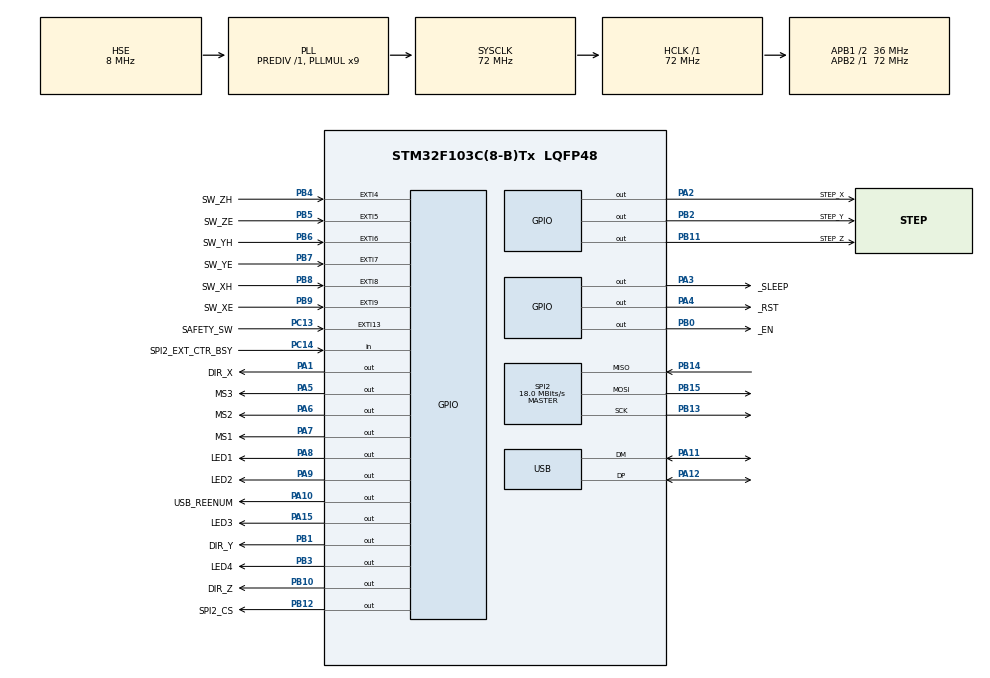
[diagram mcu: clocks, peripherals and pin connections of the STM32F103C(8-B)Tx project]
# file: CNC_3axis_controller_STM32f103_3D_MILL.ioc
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Mcu.Family=STM32F1
Mcu.Name=STM32F103C(8-B)Tx
Mcu.Package=LQFP48
NVIC.EXTI15_10_IRQn=true\:0\:0\:false\:false\:true\:true\:true\:true
NVIC.EXTI4_IRQn=true\:2\:0\:true\:false\:true\:true\:true\:true
NVIC.EXTI9_5_IRQn=true\:2\:0\:true\:false\:true\:true\:true\:true
NVIC.PriorityGroup=NVIC_PRIORITYGROUP_4
NVIC.SPI2_IRQn=true\:1\:0\:true\:false\:true\:true\:true\:true
NVIC.TIM4_IRQn=true\:1\:0\:true\:false\:true\:true\:true\:true
NVIC.USBWakeUp_IRQn=true\:0\:0\:false\:false\:true\:false\:true\:true
NVIC.USB_HP_CAN1_TX_IRQn=true\:2\:0\:true\:false\:true\:true\:true\:true
NVIC.USB_LP_CAN1_RX0_IRQn=true\:2\:0\:true\:false\:true\:false\:true\:true
PA1.GPIO_Label=DIR_X
PA1.Signal=GPIO_Output
PA10.GPIO_Label=USB_REENUM
PA10.Signal=GPIO_Output
PA11.Mode=Device
PA11.Signal=USB_DM
PA12.Mode=Device
PA12.Signal=USB_DP
PA13.Mode=Serial_Wire
PA13.Signal=SYS_JTMS-SWDIO
PA14.Mode=Serial_Wire
PA14.Signal=SYS_JTCK-SWCLK
PA15.GPIO_Label=LED3
PA15.Signal=GPIO_Output
PA2.GPIO_Label=STEP_X
PA2.Signal=GPIO_Output
PA3.GPIO_Label=_SLEEP
PA3.Signal=GPIO_Output
PA4.GPIO_Label=_RST
PA4.Signal=GPIO_Output
PA5.GPIO_Label=MS3
PA5.Signal=GPIO_Output
PA6.GPIO_Label=MS2
PA6.Signal=GPIO_Output
PA7.GPIO_Label=MS1
PA7.Signal=GPIO_Output
PA8.GPIO_Label=LED1
PA8.Signal=GPIO_Output
PA9.GPIO_Label=LED2
PA9.Signal=GPIO_Output
PB0.GPIO_Label=_EN
PB0.Signal=GPIO_Output
PB1.GPIO_Label=DIR_Y
PB1.Signal=GPIO_Output
PB10.GPIO_Label=DIR_Z
PB10.Signal=GPIO_Output
PB11.GPIO_Label=STEP_Z
PB11.Signal=GPIO_Output
PB12.GPIO_Label=SPI2_CS
PB12.Signal=GPIO_Output
PB13.Mode=Full_Duplex_Master
PB13.Signal=SPI2_SCK
PB14.Mode=Full_Duplex_Master
PB14.Signal=SPI2_MISO
PB15.Mode=Full_Duplex_Master
PB15.Signal=SPI2_MOSI
PB2.GPIO_Label=STEP_Y
PB2.Signal=GPIO_Output
PB3.GPIO_Label=LED4
PB3.Signal=GPIO_Output
PB4.GPIO_Label=SW_ZH
PB4.GPIO_ModeDefaultEXTI=GPIO_MODE_IT_RISING_FALLING
PB4.GPIO_PuPd=GPIO_PULLUP
PB4.Signal=GPXTI4
PB5.GPIO_Label=SW_ZE
PB5.GPIO_ModeDefaultEXTI=GPIO_MODE_IT_RISING_FALLING
PB5.GPIO_PuPd=GPIO_PULLUP
PB5.Signal=GPXTI5
PB6.GPIO_Label=SW_YH
PB6.GPIO_ModeDefaultEXTI=GPIO_MODE_IT_RISING_FALLING
PB6.GPIO_PuPd=GPIO_PULLUP
PB6.Signal=GPXTI6
PB7.GPIO_Label=SW_YE
PB7.GPIO_ModeDefaultEXTI=GPIO_MODE_IT_RISING_FALLING
PB7.GPIO_PuPd=GPIO_PULLUP
PB7.Signal=GPXTI7
PB8.GPIO_Label=SW_XH
PB8.GPIO_ModeDefaultEXTI=GPIO_MODE_IT_RISING_FALLING
PB8.GPIO_PuPd=GPIO_PULLUP
PB8.Signal=GPXTI8
PB9.GPIO_Label=SW_XE
PB9.GPIO_ModeDefaultEXTI=GPIO_MODE_IT_RISING_FALLING
PB9.GPIO_PuPd=GPIO_PULLUP
PB9.Signal=GPXTI9
PC13-TAMPER-RTC.GPIO_Label=SAFETY_SW
PC13-TAMPER-RTC.GPIO_ModeDefaultEXTI=GPIO_MODE_IT_FALLING
PC13-TAMPER-RTC.GPIO_PuPd=GPIO_PULLUP
PC13-TAMPER-RTC.Signal=GPXTI13
PC14-OSC32_IN.GPIO_Label=SPI2_EXT_CTR_BSY
PC14-OSC32_IN.Signal=GPIO_Input
PD0-OSC_IN.Mode=HSE-External-Oscillator
PD0-OSC_IN.Signal=RCC_OSC_IN
PD1-OSC_OUT.Mode=HSE-External-Oscillator
PD1-OSC_OUT.Signal=RCC_OSC_OUT
ProjectManager.HeapSize=0x800
ProjectManager.StackSize=0x1400
ProjectManager.TargetToolchain=STM32CubeIDE
RCC.AHBFreq_Value=72000000
RCC.APB1CLKDivider=RCC_HCLK_DIV2
RCC.APB1Freq_Value=36000000
RCC.APB1TimFreq_Value=72000000
RCC.APB2Freq_Value=72000000
RCC.APB2TimFreq_Value=72000000
RCC.HCLKFreq_Value=72000000
RCC.PLLMUL=RCC_PLL_MUL9
RCC.SYSCLKFreq_VALUE=72000000
RCC.SYSCLKSource=RCC_SYSCLKSOURCE_PLLCLK
RCC.USBFreq_Value=48000000
RCC.USBPrescaler=RCC_USBCLKSOURCE_PLL_DIV1_5
SPI2.CalculateBaudRate=18.0 MBits/s
SPI2.Direction=SPI_DIRECTION_2LINES
SPI2.Mode=SPI_MODE_MASTER
SPI2.VirtualType=VM_MASTER
TIM4.Channel-Output\ Compare1\ No\ Output=TIM_CHANNEL_1
TIM4.Period=65535
TIM4.Prescaler=72
TIM4.Pulse-Output\ Compare1\ No\ Output=1
USB.low_power_enable=ENABLE
USB_DEVICE.CLASS_NAME_FS=CDC
USB_DEVICE.PRODUCT_STRING_CDC_FS=DIY CNC machine V2 STM32 Virtual ComPort
USB_DEVICE.USBD_DEBUG_LEVEL=3
USB_DEVICE.VirtualMode=Cdc
USB_DEVICE.VirtualModeFS=Cdc_FS
VP_TIM4_VS_ClockSourceINT.Mode=Internal
VP_TIM4_VS_OPM.Mode=OPM_bit
VP_TIM4_VS_no_output1.Mode=Output Compare1 No Output
VP_USB_DEVICE_VS_USB_DEVICE_CDC_FS.Mode=CDC_FS
board=custom

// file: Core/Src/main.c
/* USER CODE BEGIN Header */
/**
  ******************************************************************************
  * @file           : main.c
  * @brief          : Main program body
  *
  ******************************************************************************
  * @attention
  *
  * Copyright (c) 2023 STMicroelectronics.
  * All rights reserved.
  *
  * This software is licensed under terms that can be found in the LICENSE file
  * in the root directory of this software component.
  * If no LICENSE file comes with this software, it is provided AS-IS.
  *
  ******************************************************************************
  ******************************************************************************
  *
  *
  * -serial port settings: 9600 baud, 1 stop bit, no parity, no flow control
  *
  */
/* USER CODE END Header */
#include "main.h"
#include "usb_device.h"

/* USER CODE BEGIN Includes */
#include "usbd_cdc_if.h"

/* USER CODE END Includes */

/* USER CODE BEGIN PD */

//#define USE_BLOCKING_US_DELAY

/* USER CODE END PD */

SPI_HandleTypeDef hspi2;

/* USER CODE BEGIN PV */
uint8_t rxbuffer[RXBUFFSIZE] = {0};
uint8_t rxbufend = 0;
uint8_t rxflagbyte = 0;

cmd_struct* cmdBuff_pp[CMDBUFFSIZE] = {NULL};
uint8_t	cmdBuffIndx = 0;
uint8_t	cmdBuffEndIndx = 0;
/* USER CODE END PV */

void SystemClock_Config(void);
static void MX_GPIO_Init(void);
static void MX_TIM4_Init(void);
static void MX_SPI2_Init(void);

/* USER CODE BEGIN 0 */

extern USBD_HandleTypeDef hUsbDeviceFS;
extern uint8_t host_com_port_open;

uint8_t volatile us_delay_flag = 0;

volatile uint8_t btn = 0;

extern CP stepper_pos;

volatile uint32_t num_of_cmd_line = 1;//cmd counter

/* USER CODE END 0 */

int main(void)
{

  /* USER CODE BEGIN 1 */
  cmd_struct cs0 = {0, NULL};
  cmdBuff_pp[0] = &cs0;
  /* USER CODE END 1 */

  /* MCU Configuration--------------------------------------------------------*/

  /* Reset of all peripherals, Initializes the Flash interface and the Systick. */
  HAL_Init();

  /* Configure the system clock */
  SystemClock_Config();

  /* Initialize all configured peripherals */
  MX_GPIO_Init();
  MX_USB_DEVICE_Init();
  MX_TIM4_Init();
  MX_SPI2_Init();
  /* USER CODE BEGIN 2 */

  A4988_init(&stepper_pos, stepsize_1_16);

  __enable_irq();

  LL_mDelay(500);

  /* USER CODE END 2 */

  /* Infinite loop */
  /* USER CODE BEGIN WHILE */

  stepper_pos.toolspeed = DEFAULTTOOLSPEED;
  stepper_pos.curr_state &= ~(RapidMove | RelativeStep_MSK);
  stepper_pos.curr_state |= (FeedMove | AbsoluteStep_MSK);
  num_of_cmd_line = 1;
  get_limit_sw_state();
  gotohome(&stepper_pos);

  while(host_com_port_open == 0)//wait for the CDC_Control_FS() function to be called with "CDC_SET_CONTROL_LINE_STATE" command
  {
	  LL_mDelay(250);
  }
  msDelay(20);
  uint8_t str[] = {"Connected to PC"};
  ext_ctr_transmit_string(PrintInfo_cmd, str, sizeof(str));

  USBD_CDC_ReceivePacket(&hUsbDeviceFS);
  USBD_CDC_TransmitPacket(&hUsbDeviceFS);

  uint8_t cmddone[1] = {CMD_DONE_CHAR};
  rxflagbyte = 0;
  rxbufend = 0;

  while(1)
  {
	while(rxflagbyte == 0)
	{
		__NOP();
	}

	LL_GPIO_TogglePin(LED1_GPIO_Port, LED1_Pin);

	handleCmd(cmdBuff_pp, &cmdBuffIndx);
	execute_cmd(cmdBuff_pp[cmdBuffIndx], &stepper_pos, &num_of_cmd_line);
	screen_update(cmdBuff_pp[cmdBuffIndx]);

	if(cmdBuff_pp[cmdBuffIndx]->params != NULL)
	{
		free(cmdBuff_pp[cmdBuffIndx]->params);
		cmdBuff_pp[cmdBuffIndx]->params = NULL;//prevents use after free
	}

	memset(rxbuffer, 0, RXBUFFSIZE);
	rxbufend = 0;
	rxflagbyte = 0;
	if(CDCsend(cmddone, 1, 255) != USBD_OK)
	{
		Error_Handler();
	}
  }

  //bab
  gotohome(&stepper_pos);
  A4988_power_down();

  while (1)
  {
    /* USER CODE END WHILE */

    /* USER CODE BEGIN 3 */

	  __NOP();
  }
  /* USER CODE END 3 */
}

void SystemClock_Config(void)
{
  RCC_OscInitTypeDef RCC_OscInitStruct = {0};
  RCC_ClkInitTypeDef RCC_ClkInitStruct = {0};
  RCC_PeriphCLKInitTypeDef PeriphClkInit = {0};

  /** Initializes the RCC Oscillators according to the specified parameters
  * in the RCC_OscInitTypeDef structure.
  */
  RCC_OscInitStruct.OscillatorType = RCC_OSCILLATORTYPE_HSE;
  RCC_OscInitStruct.HSEState = RCC_HSE_ON;
  RCC_OscInitStruct.HSEPredivValue = RCC_HSE_PREDIV_DIV1;
  RCC_OscInitStruct.HSIState = RCC_HSI_ON;
  RCC_OscInitStruct.PLL.PLLState = RCC_PLL_ON;
  RCC_OscInitStruct.PLL.PLLSource = RCC_PLLSOURCE_HSE;
  RCC_OscInitStruct.PLL.PLLMUL = RCC_PLL_MUL9;
  if (HAL_RCC_OscConfig(&RCC_OscInitStruct) != HAL_OK)
  {
    Error_Handler();
  }

  /** Initializes the CPU, AHB and APB buses clocks
  */
  RCC_ClkInitStruct.ClockType = RCC_CLOCKTYPE_HCLK|RCC_CLOCKTYPE_SYSCLK
                              |RCC_CLOCKTYPE_PCLK1|RCC_CLOCKTYPE_PCLK2;
  RCC_ClkInitStruct.SYSCLKSource = RCC_SYSCLKSOURCE_PLLCLK;
  RCC_ClkInitStruct.AHBCLKDivider = RCC_SYSCLK_DIV1;
  RCC_ClkInitStruct.APB1CLKDivider = RCC_HCLK_DIV2;
  RCC_ClkInitStruct.APB2CLKDivider = RCC_HCLK_DIV1;

  if (HAL_RCC_ClockConfig(&RCC_ClkInitStruct, FLASH_LATENCY_2) != HAL_OK)
  {
    Error_Handler();
  }
  PeriphClkInit.PeriphClockSelection = RCC_PERIPHCLK_USB;
  PeriphClkInit.UsbClockSelection = RCC_USBCLKSOURCE_PLL_DIV1_5;
  if (HAL_RCCEx_PeriphCLKConfig(&PeriphClkInit) != HAL_OK)
  {
    Error_Handler();
  }
}

static void MX_SPI2_Init(void)
{

  /* SPI2 parameter configuration*/
  hspi2.Instance = SPI2;
  hspi2.Init.Mode = SPI_MODE_MASTER;
  hspi2.Init.Direction = SPI_DIRECTION_2LINES;
  hspi2.Init.DataSize = SPI_DATASIZE_8BIT;
  hspi2.Init.CLKPolarity = SPI_POLARITY_LOW;
  hspi2.Init.CLKPhase = SPI_PHASE_1EDGE;
  hspi2.Init.NSS = SPI_NSS_SOFT;
  hspi2.Init.BaudRatePrescaler = SPI_BAUDRATEPRESCALER_2;
  hspi2.Init.FirstBit = SPI_FIRSTBIT_MSB;
  hspi2.Init.TIMode = SPI_TIMODE_DISABLE;
  hspi2.Init.CRCCalculation = SPI_CRCCALCULATION_DISABLE;
  hspi2.Init.CRCPolynomial = 10;
  if (HAL_SPI_Init(&hspi2) != HAL_OK)
  {
    Error_Handler();
  }

}

static void MX_TIM4_Init(void)
{

  LL_TIM_InitTypeDef TIM_InitStruct = {0};
  LL_TIM_OC_InitTypeDef TIM_OC_InitStruct = {0};

  /* Peripheral clock enable */
  LL_APB1_GRP1_EnableClock(LL_APB1_GRP1_PERIPH_TIM4);

  /* TIM4 interrupt Init */
  NVIC_SetPriority(TIM4_IRQn, NVIC_EncodePriority(NVIC_GetPriorityGrouping(),1, 0));
  NVIC_EnableIRQ(TIM4_IRQn);

  TIM_InitStruct.Prescaler = 72;
  TIM_InitStruct.CounterMode = LL_TIM_COUNTERMODE_UP;
  TIM_InitStruct.Autoreload = 65535;
  TIM_InitStruct.ClockDivision = LL_TIM_CLOCKDIVISION_DIV1;
  LL_TIM_Init(TIM4, &TIM_InitStruct);
  LL_TIM_DisableARRPreload(TIM4);
  LL_TIM_SetClockSource(TIM4, LL_TIM_CLOCKSOURCE_INTERNAL);
  TIM_OC_InitStruct.OCMode = LL_TIM_OCMODE_FROZEN;
  TIM_OC_InitStruct.OCState = LL_TIM_OCSTATE_DISABLE;
  TIM_OC_InitStruct.OCNState = LL_TIM_OCSTATE_DISABLE;
  TIM_OC_InitStruct.CompareValue = 1;
  TIM_OC_InitStruct.OCPolarity = LL_TIM_OCPOLARITY_HIGH;
  LL_TIM_OC_Init(TIM4, LL_TIM_CHANNEL_CH1, &TIM_OC_InitStruct);
  LL_TIM_OC_DisableFast(TIM4, LL_TIM_CHANNEL_CH1);
  LL_TIM_SetOnePulseMode(TIM4, LL_TIM_ONEPULSEMODE_SINGLE);
  LL_TIM_SetTriggerOutput(TIM4, LL_TIM_TRGO_RESET);
  LL_TIM_DisableMasterSlaveMode(TIM4);

}

static void MX_GPIO_Init(void)
{
  LL_EXTI_InitTypeDef EXTI_InitStruct = {0};
  LL_GPIO_InitTypeDef GPIO_InitStruct = {0};

  /* GPIO Ports Clock Enable */
  LL_APB2_GRP1_EnableClock(LL_APB2_GRP1_PERIPH_GPIOC);
  LL_APB2_GRP1_EnableClock(LL_APB2_GRP1_PERIPH_GPIOD);
  LL_APB2_GRP1_EnableClock(LL_APB2_GRP1_PERIPH_GPIOA);
  LL_APB2_GRP1_EnableClock(LL_APB2_GRP1_PERIPH_GPIOB);

  /**/
  LL_GPIO_ResetOutputPin(GPIOA, DIR_X_Pin|STEP_X_Pin|_SLEEP_Pin|_RST_Pin
                          |MS3_Pin|MS2_Pin|MS1_Pin|LED1_Pin
                          |LED2_Pin|USB_REENUM_Pin|LED3_Pin);

  /**/
  LL_GPIO_ResetOutputPin(GPIOB, _EN_Pin|DIR_Y_Pin|STEP_Y_Pin|DIR_Z_Pin
                          |STEP_Z_Pin|SPI2_CS_Pin|LED4_Pin);

  /**/
  LL_GPIO_AF_SetEXTISource(LL_GPIO_AF_EXTI_PORTC, LL_GPIO_AF_EXTI_LINE13);

  /**/
  LL_GPIO_AF_SetEXTISource(LL_GPIO_AF_EXTI_PORTB, LL_GPIO_AF_EXTI_LINE4);

  /**/
  LL_GPIO_AF_SetEXTISource(LL_GPIO_AF_EXTI_PORTB, LL_GPIO_AF_EXTI_LINE5);

  /**/
  LL_GPIO_AF_SetEXTISource(LL_GPIO_AF_EXTI_PORTB, LL_GPIO_AF_EXTI_LINE6);

  /**/
  LL_GPIO_AF_SetEXTISource(LL_GPIO_AF_EXTI_PORTB, LL_GPIO_AF_EXTI_LINE7);

  /**/
  LL_GPIO_AF_SetEXTISource(LL_GPIO_AF_EXTI_PORTB, LL_GPIO_AF_EXTI_LINE8);

  /**/
  LL_GPIO_AF_SetEXTISource(LL_GPIO_AF_EXTI_PORTB, LL_GPIO_AF_EXTI_LINE9);

  /**/
  EXTI_InitStruct.Line_0_31 = LL_EXTI_LINE_13;
  EXTI_InitStruct.LineCommand = ENABLE;
  EXTI_InitStruct.Mode = LL_EXTI_MODE_IT;
  EXTI_InitStruct.Trigger = LL_EXTI_TRIGGER_FALLING;
  LL_EXTI_Init(&EXTI_InitStruct);

  /**/
  EXTI_InitStruct.Line_0_31 = LL_EXTI_LINE_4;
  EXTI_InitStruct.LineCommand = ENABLE;
  EXTI_InitStruct.Mode = LL_EXTI_MODE_IT;
  EXTI_InitStruct.Trigger = LL_EXTI_TRIGGER_RISING_FALLING;
  LL_EXTI_Init(&EXTI_InitStruct);

  /**/
  EXTI_InitStruct.Line_0_31 = LL_EXTI_LINE_5;
  EXTI_InitStruct.LineCommand = ENABLE;
  EXTI_InitStruct.Mode = LL_EXTI_MODE_IT;
  EXTI_InitStruct.Trigger = LL_EXTI_TRIGGER_RISING_FALLING;
  LL_EXTI_Init(&EXTI_InitStruct);

  /**/
  EXTI_InitStruct.Line_0_31 = LL_EXTI_LINE_6;
  EXTI_InitStruct.LineCommand = ENABLE;
  EXTI_InitStruct.Mode = LL_EXTI_MODE_IT;
  EXTI_InitStruct.Trigger = LL_EXTI_TRIGGER_RISING_FALLING;
  LL_EXTI_Init(&EXTI_InitStruct);

  /**/
  EXTI_InitStruct.Line_0_31 = LL_EXTI_LINE_7;
  EXTI_InitStruct.LineCommand = ENABLE;
  EXTI_InitStruct.Mode = LL_EXTI_MODE_IT;
  EXTI_InitStruct.Trigger = LL_EXTI_TRIGGER_RISING_FALLING;
  LL_EXTI_Init(&EXTI_InitStruct);

  /**/
  EXTI_InitStruct.Line_0_31 = LL_EXTI_LINE_8;
  EXTI_InitStruct.LineCommand = ENABLE;
  EXTI_InitStruct.Mode = LL_EXTI_MODE_IT;
  EXTI_InitStruct.Trigger = LL_EXTI_TRIGGER_RISING_FALLING;
  LL_EXTI_Init(&EXTI_InitStruct);

  /**/
  EXTI_InitStruct.Line_0_31 = LL_EXTI_LINE_9;
  EXTI_InitStruct.LineCommand = ENABLE;
  EXTI_InitStruct.Mode = LL_EXTI_MODE_IT;
  EXTI_InitStruct.Trigger = LL_EXTI_TRIGGER_RISING_FALLING;
  LL_EXTI_Init(&EXTI_InitStruct);

  /**/
  LL_GPIO_SetPinPull(SAFETY_SW_GPIO_Port, SAFETY_SW_Pin, LL_GPIO_PULL_UP);

  /**/
  LL_GPIO_SetPinPull(SW_ZH_GPIO_Port, SW_ZH_Pin, LL_GPIO_PULL_UP);

  /**/
  LL_GPIO_SetPinPull(SW_ZE_GPIO_Port, SW_ZE_Pin, LL_GPIO_PULL_UP);

  /**/
  LL_GPIO_SetPinPull(SW_YH_GPIO_Port, SW_YH_Pin, LL_GPIO_PULL_UP);

  /**/
  LL_GPIO_SetPinPull(SW_YE_GPIO_Port, SW_YE_Pin, LL_GPIO_PULL_UP);

  /**/
  LL_GPIO_SetPinPull(SW_XH_GPIO_Port, SW_XH_Pin, LL_GPIO_PULL_UP);

  /**/
  LL_GPIO_SetPinPull(SW_XE_GPIO_Port, SW_XE_Pin, LL_GPIO_PULL_UP);

  /**/
  LL_GPIO_SetPinMode(SAFETY_SW_GPIO_Port, SAFETY_SW_Pin, LL_GPIO_MODE_INPUT);

  /**/
  LL_GPIO_SetPinMode(SW_ZH_GPIO_Port, SW_ZH_Pin, LL_GPIO_MODE_INPUT);

  /**/
  LL_GPIO_SetPinMode(SW_ZE_GPIO_Port, SW_ZE_Pin, LL_GPIO_MODE_INPUT);

  /**/
  LL_GPIO_SetPinMode(SW_YH_GPIO_Port, SW_YH_Pin, LL_GPIO_MODE_INPUT);

  /**/
  LL_GPIO_SetPinMode(SW_YE_GPIO_Port, SW_YE_Pin, LL_GPIO_MODE_INPUT);

  /**/
  LL_GPIO_SetPinMode(SW_XH_GPIO_Port, SW_XH_Pin, LL_GPIO_MODE_INPUT);

  /**/
  LL_GPIO_SetPinMode(SW_XE_GPIO_Port, SW_XE_Pin, LL_GPIO_MODE_INPUT);

  /**/
  GPIO_InitStruct.Pin = SPI2_EXT_CTR_BSY_Pin;
  GPIO_InitStruct.Mode = LL_GPIO_MODE_FLOATING;
  LL_GPIO_Init(SPI2_EXT_CTR_BSY_GPIO_Port, &GPIO_InitStruct);

  /**/
  GPIO_InitStruct.Pin = DIR_X_Pin|STEP_X_Pin|_SLEEP_Pin|_RST_Pin
                          |MS3_Pin|MS2_Pin|MS1_Pin|LED1_Pin
                          |LED2_Pin|USB_REENUM_Pin|LED3_Pin;
  GPIO_InitStruct.Mode = LL_GPIO_MODE_OUTPUT;
  GPIO_InitStruct.Speed = LL_GPIO_SPEED_FREQ_LOW;
  GPIO_InitStruct.OutputType = LL_GPIO_OUTPUT_PUSHPULL;
  LL_GPIO_Init(GPIOA, &GPIO_InitStruct);

  /**/
  GPIO_InitStruct.Pin = _EN_Pin|DIR_Y_Pin|STEP_Y_Pin|DIR_Z_Pin
                          |STEP_Z_Pin|SPI2_CS_Pin|LED4_Pin;
  GPIO_InitStruct.Mode = LL_GPIO_MODE_OUTPUT;
  GPIO_InitStruct.Speed = LL_GPIO_SPEED_FREQ_LOW;
  GPIO_InitStruct.OutputType = LL_GPIO_OUTPUT_PUSHPULL;
  LL_GPIO_Init(GPIOB, &GPIO_InitStruct);

  /* EXTI interrupt init*/
  NVIC_SetPriority(EXTI4_IRQn, NVIC_EncodePriority(NVIC_GetPriorityGrouping(),2, 0));
  NVIC_EnableIRQ(EXTI4_IRQn);
  NVIC_SetPriority(EXTI9_5_IRQn, NVIC_EncodePriority(NVIC_GetPriorityGrouping(),2, 0));
  NVIC_EnableIRQ(EXTI9_5_IRQn);
  NVIC_SetPriority(EXTI15_10_IRQn, NVIC_EncodePriority(NVIC_GetPriorityGrouping(),0, 0));
  NVIC_EnableIRQ(EXTI15_10_IRQn);

}

/* USER CODE BEGIN 4 */

void handleCmd(cmd_struct** cmdBuff_f, uint8_t* cmdBuffIndx_f)
{
	switch(rxbuffer[0])
	{
		//commands with 0 argument////////////////////////////////////////////////
		case 'i':
		case 'I':	if( (rxbuffer[1]=='n') || (rxbuffer[1]=='N') )
					{
						cmdBuff_f[*cmdBuffIndx_f]->cmd = CMD_INITIALIZE;
						cmdBuff_f[*cmdBuffIndx_f]->params = NULL;
					}
					else
					{
						cmdBuff_f[*cmdBuffIndx_f]->cmd = CMD_ERROR;
						cmdBuff_f[*cmdBuffIndx_f]->params = NULL;
					}
					break;

		case 'h':
		case 'H':	if( (rxbuffer[1]=='p') || (rxbuffer[1]=='P') )
					{
						cmdBuff_f[*cmdBuffIndx_f]->cmd = CMD_HOMEPOS;
						cmdBuff_f[*cmdBuffIndx_f]->params = NULL;
					}
					else
					{
						cmdBuff_f[*cmdBuffIndx_f]->cmd = CMD_ERROR;
						cmdBuff_f[*cmdBuffIndx_f]->params = NULL;
					}
					break;

		case 'e':
		case 'E':	if( (rxbuffer[1]=='p') || (rxbuffer[1]=='P') )
					{
						cmdBuff_f[*cmdBuffIndx_f]->cmd = CMD_ENDPOS;
						cmdBuff_f[*cmdBuffIndx_f]->params = NULL;
					}
					else
					{
						cmdBuff_f[*cmdBuffIndx_f]->cmd = CMD_ERROR;
						cmdBuff_f[*cmdBuffIndx_f]->params = NULL;
					}
					break;

		case 'g':
		case 'G':	if( (rxbuffer[1]=='p') || (rxbuffer[1]=='P') )
					{
						cmdBuff_f[*cmdBuffIndx_f]->cmd = CMD_GETCURRENTPOS;
						cmdBuff_f[*cmdBuffIndx_f]->params = NULL;
					}
					else if( (rxbuffer[1]=='o') || (rxbuffer[1]=='O') )
					{
						cmdBuff_f[*cmdBuffIndx_f]->cmd = CMD_GETORIGIN;
						cmdBuff_f[*cmdBuffIndx_f]->params = NULL;
					}
					else
					{
						cmdBuff_f[*cmdBuffIndx_f]->cmd = CMD_ERROR;
						cmdBuff_f[*cmdBuffIndx_f]->params = NULL;
					}
					break;

		case 'o':
		case 'O':	switch(rxbuffer[1])
					{
						case 'x':
						case 'X':	cmdBuff_f[*cmdBuffIndx_f]->cmd = CMD_SETAXLEORIGIN_X;
									cmdBuff_f[*cmdBuffIndx_f]->params = NULL;
									break;
						case 'y':
						case 'Y':	cmdBuff_f[*cmdBuffIndx_f]->cmd = CMD_SETAXLEORIGIN_Y;
									cmdBuff_f[*cmdBuffIndx_f]->params = NULL;
									break;
						case 'z':
						case 'Z':	cmdBuff_f[*cmdBuffIndx_f]->cmd = CMD_SETAXLEORIGIN_Z;
									cmdBuff_f[*cmdBuffIndx_f]->params = NULL;
									break;

						default:	cmdBuff_f[*cmdBuffIndx_f]->cmd = CMD_ERROR;
									cmdBuff_f[*cmdBuffIndx_f]->params = NULL;
									break;
					}
					break;
	    //commands with 1 argument////////////////////////////////////////////////
		case 'v':
		case 'V':	if( (rxbuffer[1]=='s') || (rxbuffer[1]=='S') )
					{
						cmdBuff_f[*cmdBuffIndx_f]->cmd = CMD_TOOLSPEED;
						cmdBuff_f[*cmdBuffIndx_f]->params = (int32_t*)calloc(1, sizeof(int32_t)); // eval_arg_in_cmd() fn does not replace the value, it adds the new val to the variable, so it has to be 0
						eval_arg_in_cmd(rxbuffer, 2, ';', rxbufend, cmdBuff_f[*cmdBuffIndx_f]->params);
					}
					else
					{
						cmdBuff_f[*cmdBuffIndx_f]->cmd = CMD_ERROR;
						cmdBuff_f[*cmdBuffIndx_f]->params = NULL;
					}
					break;

		//commands with block argument////////////////////////////////////////////////
		case 'P':
		case 'p':	switch(rxbuffer[1])
					{
						case 'a':
						case 'A':	cmdBuff_f[*cmdBuffIndx_f]->cmd = CMD_PLOT_A;
									cmdBuff_f[*cmdBuffIndx_f]->params = NULL;
									break;

						case 'r':
						case 'R':	cmdBuff_f[*cmdBuffIndx_f]->cmd = CMD_PLOT_R;
									cmdBuff_f[*cmdBuffIndx_f]->params = NULL;
									break;

						case 'u':
						case 'U':	cmdBuff_f[*cmdBuffIndx_f]->cmd = CMD_PLOT_U;
									cmdBuff_f[*cmdBuffIndx_f]->params = NULL;
									break;

						case 'd':
						case 'D':	cmdBuff_f[*cmdBuffIndx_f]->cmd = CMD_PLOT_D;
									cmdBuff_f[*cmdBuffIndx_f]->params = NULL;
									break;

						default:	cmdBuff_f[*cmdBuffIndx_f]->cmd = CMD_ERROR;
									cmdBuff_f[*cmdBuffIndx_f]->params = NULL;
									break;
					}
					if((rxbufend>6) && (cmdBuff_f[*cmdBuffIndx_f]->cmd != CMD_ERROR))//ha a command tartalmaz valid paramétereket is akkor legalább 8 lesz a hossza pontosvesszővel együtt, pl: PD0,0,0;
					{
						if(eval_plot_cmd(rxbuffer, rxbufend, &stepper_pos, cmdBuff_f[*cmdBuffIndx_f]) != 0)
						{
							cmdBuff_f[*cmdBuffIndx_f]->cmd = CMD_ERROR;
							cmdBuff_f[*cmdBuffIndx_f]->params = NULL;
						}
					}
					break;

		case 't':
		case 'T':	if( (rxbuffer[1]=='x') || (rxbuffer[1]=='X') )
					{
						rxbuffer[rxbufend]=0;//az utolsó elemet lecseréljük lezáró nullára hogy a string biztos standard legyen
						cmdBuff_f[*cmdBuffIndx_f]->cmd = CMD_PRINTFILENAME;
						cmdBuff_f[*cmdBuffIndx_f]->params = (uint8_t*)calloc(1, rxbufend-1);
						memcpy((int8_t*)cmdBuff_f[*cmdBuffIndx_f]->params, &rxbuffer[2], rxbufend-1);
						rxbuffer[rxbufend]=CMD_DONE_CHAR;//visszaállítás
					}
					else
					{
						cmdBuff_f[*cmdBuffIndx_f]->cmd = CMD_ERROR;
						cmdBuff_f[*cmdBuffIndx_f]->params = NULL;
					}

					break;

		default: 	cmdBuff_f[*cmdBuffIndx_f]->cmd = CMD_ERROR;
					cmdBuff_f[*cmdBuffIndx_f]->params = NULL;
					break;
	}
}

void execute_cmd(cmd_struct *cmdstr, CP* currentpos, volatile uint32_t *num_of_cmd_line_p)
{
	switch(cmdstr->cmd)
	{
		default:
		case CMD_ERROR: 			break;

		case CMD_INITIALIZE: 		currentpos->toolspeed = DEFAULTTOOLSPEED;
									currentpos->curr_state &= ~(RapidMove | RelativeStep_MSK);
									currentpos->curr_state |= (FeedMove | AbsoluteStep_MSK);
									currentpos->origin_offset_x = 0;
									currentpos->origin_offset_y = 0;
									currentpos->origin_offset_z = 0;
									(*num_of_cmd_line_p) = 1;
									gotohome(currentpos);
									msDelay(100);
							 	 	break;

		case CMD_HOMEPOS: 			currentpos->curr_state &= ~RelativeStep_MSK;
									currentpos->curr_state &= ~FeedMove;
									currentpos->curr_state |= AbsoluteStep_MSK;
									currentpos->curr_state |= RapidMove;
									HPGL_PA(currentpos->current_pos_x, currentpos->current_pos_y, ZaxisLen, currentpos);//lift up tool
									HPGL_PA(0, 0, ZaxisLen, currentpos);
						  	  	  	break;

		case CMD_ENDPOS: 			stepper_pos.curr_state &= ~RelativeStep_MSK;
									currentpos->curr_state &= ~FeedMove;
									currentpos->curr_state |= AbsoluteStep_MSK;
									currentpos->curr_state |= RapidMove;
									HPGL_PA(currentpos->current_pos_x, currentpos->current_pos_y, ZaxisLen, currentpos);//lift up tool
									HPGL_PA(XaxisLen, YaxisLen, ZaxisLen, currentpos);
						 	 	 	break;

		case CMD_GETCURRENTPOS: 	{
										char numstr[10] = {0};
										uint8_t len;
										itoa(currentpos->current_pos_x, numstr, 10);
										len=strlen(numstr);
										numstr[len+1] = ';';
										numstr[len+2] = 0;
										CDC_Transmit_FS((uint8_t*)numstr, len+2);
										msDelay(10);
										itoa(currentpos->current_pos_y, numstr, 10);
										len=strlen(numstr);
										numstr[len+1] = ';';
										numstr[len+2] = 0;
										CDC_Transmit_FS((uint8_t*)numstr, len+2);
										msDelay(10);
										itoa(currentpos->current_pos_z, numstr, 10);
										len=strlen(numstr);
										CDC_Transmit_FS((uint8_t*)numstr, len);
										msDelay(10);
									}
									break;

		case CMD_GETORIGIN: 		{
										char numstr[10] = {0};
										uint8_t len;
										itoa(currentpos->origin_offset_x, numstr, 10);
										len=strlen(numstr);
										numstr[len+1] = ';';
										numstr[len+2] = 0;
										CDC_Transmit_FS((uint8_t*)numstr, len+2);
										msDelay(10);
										itoa(currentpos->origin_offset_y, numstr, 10);
										len=strlen(numstr);
										numstr[len+1] = ';';
										numstr[len+2] = 0;
										CDC_Transmit_FS((uint8_t*)numstr, len+2);
										msDelay(10);
										itoa(currentpos->origin_offset_z, numstr, 10);
										len=strlen(numstr);
										CDC_Transmit_FS((uint8_t*)numstr, len);
										msDelay(10);
									}
									break;

		case CMD_SETAXLEORIGIN_X: 	currentpos->origin_offset_x = currentpos->current_pos_x;
									break;

		case CMD_SETAXLEORIGIN_Y: 	currentpos->origin_offset_y = currentpos->current_pos_y;
									break;

		case CMD_SETAXLEORIGIN_Z: 	currentpos->origin_offset_z = currentpos->current_pos_z;
									break;
		//commands with 1 argument
		case CMD_TOOLSPEED: 		currentpos->toolspeed = *((int32_t*)cmdstr->params);
						    		break;
		//commads with block argument
		case CMD_PLOT_A: 			currentpos->curr_state &= ~RelativeStep_MSK;
									currentpos->curr_state |= AbsoluteStep_MSK;
									if(cmdstr->params != NULL)	{ execute_plot_cmd(cmdstr ,currentpos);}
						 	 	 	break;

		case CMD_PLOT_R: 			currentpos->curr_state &= ~AbsoluteStep_MSK;
									currentpos->curr_state |= RelativeStep_MSK;
									if(cmdstr->params != NULL)	{ execute_plot_cmd(cmdstr ,currentpos);}
						 	 	 	break;

		case CMD_PLOT_U: 			currentpos->curr_state &= ~FeedMove;
									currentpos->curr_state |= RapidMove;
									if(cmdstr->params != NULL)	{ execute_plot_cmd(cmdstr ,currentpos);}
						 	 	 	break;

		case CMD_PLOT_D: 			currentpos->curr_state &= ~RapidMove;
									currentpos->curr_state |= FeedMove;
									if(cmdstr->params != NULL)	{ execute_plot_cmd(cmdstr ,currentpos);}
						 	 	 	break;

		case CMD_PRINTFILENAME: 	{
										char txs[EXTCTRLPRINTMAXLEN] = {0};
										if(cmdstr->params != NULL)
										{
											(void)snprintf( txs, EXTCTRLPRINTMAXLEN-2, "%s", (char*)cmdstr->params);
										}
										msDelay(100);//this way it will always print the text, because under this time it is sure that the ext ccontroller finishes, and won't be busy, I don't mintd the delay, this cmd is useless to me during cutting
										txs[EXTCTRLPRINTMAXLEN-1] = 0;//az utolsó elemet lecseréljük lezáró nullára hogy a string biztos standard legyen
										ext_ctr_transmit_string(PrintFilenameTXT_cmd, (uint8_t*)txs, strlen(txs));
									}
		 	 	 	 	 	 		break;
	}
}

void screen_update(cmd_struct *cmdstr)
{
	char txs[EXTCTRLPRINTMAXLEN] = {0};

	switch(cmdstr->cmd)
	{
		default:
		case CMD_ERROR: 			break;

		case CMD_INITIALIZE: 		txs[0] = 'I';
							 	 	txs[1] = 'N';
							 	 	break;
		case CMD_HOMEPOS: 			txs[0] = 'H';
						  	  	  	txs[1] = 'P';
						  	  	  	break;
		case CMD_ENDPOS: 			txs[0] = 'E';
						 	 	 	txs[1] = 'P';
						 	 	 	break;
		case CMD_GETCURRENTPOS: 	txs[0] = 'G';
									txs[1] = 'P';
									break;
		case CMD_GETORIGIN: 		txs[0] = 'G';
									txs[1] = 'O';
									break;
		case CMD_SETAXLEORIGIN_X: 	txs[0] = 'O';
							      	txs[1] = 'X';
							      	break;
		case CMD_SETAXLEORIGIN_Y: 	txs[0] = 'O';
							      	txs[1] = 'Y';
							      	break;
		case CMD_SETAXLEORIGIN_Z: 	txs[0] = 'O';
							      	txs[1] = 'Z';
							      	break;
		//commands with 1 argument
		case CMD_TOOLSPEED: 		txs[0] = 'V';
						    		txs[1] = 'S';
						    		break;
		//commads with block argument
		case CMD_PLOT_A: 			txs[0] = 'P';
						 	 	 	txs[1] = 'A';
						 	 	 	if(cmdstr->params != NULL)//only if there are arguments, it is totally fine if the command is without arguments!
						 	 	 	{
						 	 	 		(void)snprintf( &txs[2], EXTCTRLPRINTMAXLEN-4, "%li,%li,%li", ((int32_t*)cmdstr->params)[0], ((int32_t*)cmdstr->params)[1], ((int32_t*)cmdstr->params)[2]);
						 	 	 	}
						 	 	 	break;
		case CMD_PLOT_R: 			txs[0] = 'P';
						 	 	 	txs[1] = 'R';
						 	 	 	if(cmdstr->params != NULL)//only if there are arguments, it is totally fine if the command is without arguments!
									{
						 	 	 		(void)snprintf( &txs[2], EXTCTRLPRINTMAXLEN-4, "%li,%li,%li", ((int32_t*)cmdstr->params)[0], ((int32_t*)cmdstr->params)[1], ((int32_t*)cmdstr->params)[2]);
									}
						 	 	 	break;
		case CMD_PLOT_U: 			txs[0] = 'P';
						 	 	 	txs[1] = 'U';
						 	 	 	if(cmdstr->params != NULL)//only if there are arguments, it is totally fine if the command is without arguments!
									{
						 	 	 		(void)snprintf( &txs[2], EXTCTRLPRINTMAXLEN-4, "%li,%li,%li", ((int32_t*)cmdstr->params)[0], ((int32_t*)cmdstr->params)[1], ((int32_t*)cmdstr->params)[2]);
									}
						 	 	 	break;
		case CMD_PLOT_D: 			txs[0] = 'P';
						 	 	 	txs[1] = 'D';
						 	 	 	if(cmdstr->params != NULL)//only if there are arguments, it is totally fine if the command is without arguments!
									{
						 	 	 		(void)snprintf( &txs[2], EXTCTRLPRINTMAXLEN-4, "%li,%li,%li", ((int32_t*)cmdstr->params)[0], ((int32_t*)cmdstr->params)[1], ((int32_t*)cmdstr->params)[2]);
									}
						 	 	 	break;

		case CMD_PRINTFILENAME: 	break; //handled completely in execute_cmd()
	}
	if(txs[1] != 0)
	{
		char lineNumStr[10] = {0};
		memcpy(txs, rxbuffer, rxbufend);
		sprintf(lineNumStr, "_L%lu", num_of_cmd_line);
		strlcat(txs, lineNumStr, EXTCTRLPRINTMAXLEN);
		txs[EXTCTRLPRINTMAXLEN-1]=0;//a lezáró elemet lecseréljük lezáró nullára hogy a string biztos standard legyen attól függetlenül hogy az strlcat ezt elvileg megcsinálja
		ext_ctr_transmit_string(PrintCNCcmdAndLineNum_cmd, (uint8_t*)txs, strlen(txs));
		num_of_cmd_line++;
	}
}

int8_t eval_plot_cmd(uint8_t *cmdstr, uint32_t len, CP *currentpos, cmd_struct* cmds)
{
	//example: PD10669,9079,35;

	int32_t xval = 0, yval = 0, zval = 0;
	uint8_t delimiterpos = 0;

	delimiterpos = eval_arg_in_cmd(cmdstr, 2, ',', len, &xval);
	if((delimiterpos == 0) && (xval == INT32_MIN))	{return -1;}//check if parameter is valid and converted to a value
	delimiterpos = eval_arg_in_cmd(cmdstr, delimiterpos+1, ',', len, &yval);
	if((delimiterpos == 0) && (yval == INT32_MIN))	{return -1;}
	delimiterpos = eval_arg_in_cmd(cmdstr, delimiterpos+1, ';', len, &zval);
	if((delimiterpos == 0) && (zval == INT32_MIN))	{return -1;}

	cmds->params = (int32_t*)calloc(3, sizeof(int32_t));
	((int32_t*)cmds->params)[0] = xval;
	((int32_t*)cmds->params)[1] = yval;
	((int32_t*)cmds->params)[2] = zval;

	return 0;
}

void execute_plot_cmd(cmd_struct *cmdstr, CP *currentpos)
{
	switch(currentpos->curr_state & (AbsoluteStep_MSK|RelativeStep_MSK))
	{
		case RelativeStep_MSK:	//not clipping to axis limits intentionally
								HPGL_PR(((int32_t*)cmdstr->params)[0], ((int32_t*)cmdstr->params)[1], ((int32_t*)cmdstr->params)[2], currentpos);
								break;

		case AbsoluteStep_MSK:
								((int32_t*)cmdstr->params)[0] += currentpos->origin_offset_x;
								((int32_t*)cmdstr->params)[1] += currentpos->origin_offset_y;
								((int32_t*)cmdstr->params)[2] += currentpos->origin_offset_z;

								//clip to axis limits
								if(((int32_t*)cmdstr->params)[0]>XaxisLen)	{ ((int32_t*)cmdstr->params)[0]=XaxisLen;}
								if(((int32_t*)cmdstr->params)[1]>YaxisLen)	{ ((int32_t*)cmdstr->params)[1]=YaxisLen;}
								if(((int32_t*)cmdstr->params)[2]>ZaxisLen)	{ ((int32_t*)cmdstr->params)[2]=ZaxisLen;}

								HPGL_PA(((int32_t*)cmdstr->params)[0], ((int32_t*)cmdstr->params)[1], ((int32_t*)cmdstr->params)[2], currentpos);
								break;
		default: break;
	}
}

uint8_t eval_arg_in_cmd(uint8_t* cmdstr, uint8_t startindx, char delimiter, uint8_t maxlen, int32_t* numarg)
{
	uint8_t indx = 0;
	uint8_t delimiter_pos = 0;
	uint8_t tmpstr[10] = {0};
	uint8_t pownum = 0;
	uint8_t	numofdigits = 0;

	for( indx=startindx; indx<=maxlen; indx++)//search for the end of the argument (delimiter) and copy the characters of the argument to a buffer while preparing them for processing
	{
		if(cmdstr[indx] == delimiter)
		{
			delimiter_pos = indx;
			break;
		}
		else
		{
			if(cmdstr[indx] != '-')
			{
				tmpstr[indx-startindx] = cmdstr[indx]-'0';
			}
			else
			{
				tmpstr[indx-startindx] = cmdstr[indx];
			}
		}
	}
	pownum = 0;
	numofdigits = delimiter_pos-startindx;
	indx = numofdigits-1;
	while(numofdigits > 0)
	{
		if( (numofdigits==1) && (tmpstr[indx]=='-') )
		{
			(*numarg) *= (-1);
		}
		else
		{
			if((tmpstr[indx] >= 0) && (tmpstr[indx] <= 9))//make sure only numbers are converted, else the command is wrong
			{
				(*numarg) += tmpstr[indx]*mypow10(pownum);
				pownum++;
			}
			else
			{
				(*numarg) = INT32_MIN;	//indicate error
				return 0;				//
			}
		}
		indx--;
		numofdigits--;
	}

	return delimiter_pos;
}

void ext_ctr_transmit_string(uint8_t printCmd, uint8_t* strbuff, uint8_t len)
{
	if((LL_GPIO_IsInputPinSet(SPI2_EXT_CTR_BSY_GPIO_Port, SPI2_EXT_CTR_BSY_Pin) == 0) || (printCmd == PrintFilenameTXT_cmd))//only if extension board is not busy, not to slow down cnc movements
	{
		/* TODO is this better?
		if(len > (EXTCTRLPRINTMAXLEN-2)) { len = (EXTCTRLPRINTMAXLEN-2);}

		uint8_t txframe[EXTCTRLPRINTMAXLEN] = {0};
		uint8_t dummyrx[EXTCTRLPRINTMAXLEN] = {0};

		txframe[0] = printCmd;
		txframe[1] = len+2;
		memcpy(&txframe[2], strbuff, len);

		LL_GPIO_SetOutputPin(SPI2_CS_GPIO_Port, SPI2_CS_Pin);
		while(LL_GPIO_IsInputPinSet(SPI2_EXT_CTR_BSY_GPIO_Port, SPI2_EXT_CTR_BSY_Pin) == 0)	{ __NOP();}
		HAL_SPI_TransmitReceive(&hspi2, txframe, dummyrx, len+2, 1000);
		LL_GPIO_ResetOutputPin(SPI2_CS_GPIO_Port, SPI2_CS_Pin);*/

		uint8_t* txframe = calloc(len+2,1);//+2 is for the command byte which is byte0, and len byte which is byte1
		uint8_t* dummyrx = calloc(len+2,1);
		txframe[0] = printCmd;
		txframe[1] = len+2;
		memcpy(&txframe[2], strbuff, len);

		LL_GPIO_SetOutputPin(SPI2_CS_GPIO_Port, SPI2_CS_Pin);
		while(LL_GPIO_IsInputPinSet(SPI2_EXT_CTR_BSY_GPIO_Port, SPI2_EXT_CTR_BSY_Pin) == 0)	{ __NOP();}
		HAL_SPI_TransmitReceive(&hspi2, txframe, dummyrx, len+2, 1000);
		LL_GPIO_ResetOutputPin(SPI2_CS_GPIO_Port, SPI2_CS_Pin);

		free(txframe);
		free(dummyrx);
	}
}

uint8_t CDCsend(uint8_t *str, uint32_t len, uint8_t retries)
{
	uint8_t retval = USBD_BUSY;
	while(retries>0)
	{
		retval = CDC_Transmit_FS(str, len);
		if(retval==USBD_OK)
		{
			break;
		}
		else
		{
			msDelay(10);
			retries--;
		}

	}
	return retval;
}

int32_t mypow10(int32_t exponent)
{
	uint32_t num = 10;

	switch(exponent)
	{
		case 0: num = 1;
				break;

		case 1: //num = 10;
				break;

		default:	exponent--;
					while(exponent)
					{
						num *= 10;
						exponent--;
					}
					break;
	}
	return num;
}

void msDelay(uint32_t val)
{
	while(val)
	{
		val--;
		usDelay(1000);
	}
}

void usDelay(uint32_t val)
{
#ifdef USE_INTERRUPT_US_DELAY
	//__enable_irq();
	LL_TIM_SetCounter(TIM4, 0);
	LL_TIM_EnableIT_CC1(TIM4);
	LL_TIM_OC_SetCompareCH1(TIM4, val);
	LL_TIM_SetAutoReload(TIM4, val);
	LL_TIM_EnableCounter(TIM4);
	LL_TIM_CC_EnableChannel(TIM4, LL_TIM_CHANNEL_CH1);
	while(us_delay_flag != 1)	{ __NOP();}
	us_delay_flag=0;
	//__disable_irq();
#endif

#ifdef USE_BLOCKING_US_DELAY
	while(val)
	{//72db nop = 1us (when clok is 72MHz) //rough estimate, bacause it has to do instructions for the loop too
		__NOP(); __NOP(); __NOP(); __NOP(); __NOP(); __NOP();
		__NOP(); __NOP(); __NOP(); __NOP(); __NOP(); __NOP();
		__NOP(); __NOP(); __NOP(); __NOP(); __NOP(); __NOP();
		__NOP(); __NOP(); __NOP(); __NOP(); __NOP(); __NOP();
		__NOP(); __NOP(); __NOP(); __NOP(); __NOP(); __NOP();
		__NOP(); __NOP(); __NOP(); __NOP(); __NOP(); __NOP();
		__NOP(); __NOP(); __NOP(); __NOP(); __NOP(); __NOP();
		__NOP(); __NOP(); __NOP(); __NOP(); __NOP(); __NOP();
		__NOP(); __NOP(); __NOP(); __NOP(); __NOP(); __NOP();
		__NOP(); __NOP(); __NOP(); __NOP(); __NOP(); __NOP();
		__NOP(); __NOP(); __NOP(); __NOP(); __NOP(); __NOP();
		__NOP(); __NOP(); __NOP(); __NOP(); __NOP(); __NOP();
		val--;
	}
#endif
}

/*
#ifdef DEBUG

int _write(int file, char *ptr, int len)
{
  (void)file;
  int DataIdx;

  for (DataIdx = 0; DataIdx < len; DataIdx++)
  {
    ITM_SendChar(*ptr++);
  }
  return len;
}

#endif//DEBUG
*/

/* USER CODE END 4 */

void Error_Handler(void)
{
  /* USER CODE BEGIN Error_Handler_Debug */
  /* User can add his own implementation to report the HAL error return state */

  gotohome(&stepper_pos);
  A4988_power_down();

  __disable_irq();

  NVIC_SystemReset();

  while (1)
  {

  }
  /* USER CODE END Error_Handler_Debug */
}
